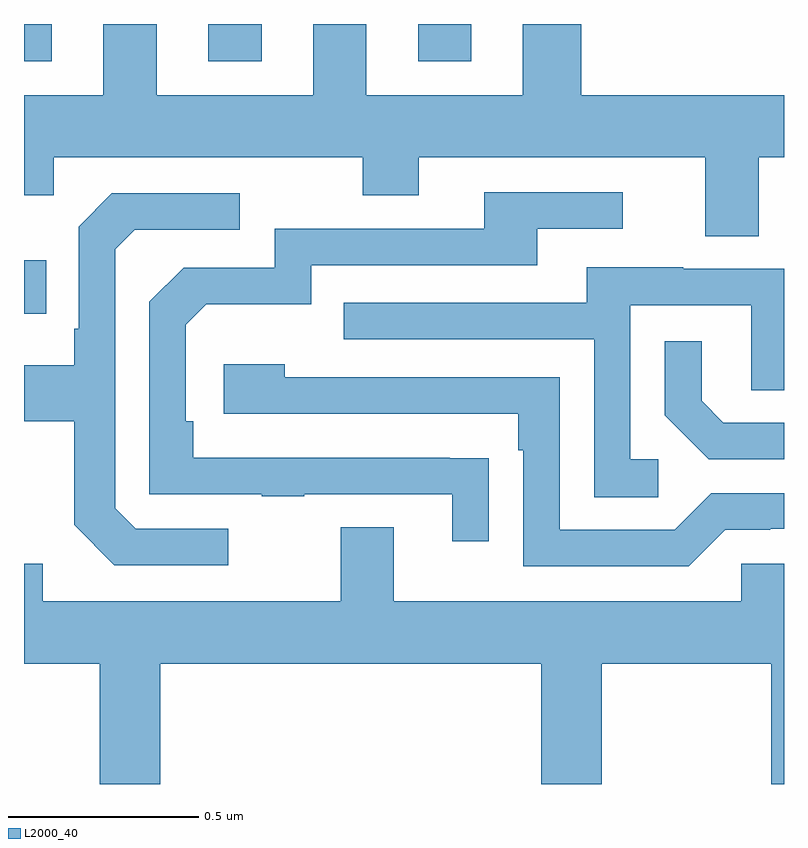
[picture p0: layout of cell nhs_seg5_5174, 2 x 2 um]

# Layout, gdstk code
import gdstk
lib = gdstk.Library(unit=1e-6, precision=1e-09)
def R(c, l, rs):  # rectangles x0, y0, x1, y1
    for r in rs: c.add(gdstk.rectangle(r[:2], r[2:], *l))
def P(c, l, *ps):  # polygons
    for p in ps: c.add(gdstk.Polygon(p, *l))
L2000_40 = (2000, 40)

nhs_seg5_5174 = lib.new_cell('nhs_seg5_5174')
R(nhs_seg5_5174, L2000_40, [(180,835.037,180.059,835.177), (180,835.701,180.073,835.799), (180.485,835.701,180.625,835.799), (181.037,835.701,181.177,835.799)])
P(nhs_seg5_5174, L2000_40, [(181.793,835.24),(181.933,835.24),(181.933,835.448),(182,835.448),(182,835.612),(181.466,835.612),(181.466,835.799),(181.313,835.799),(181.313,835.612),(180.901,835.612),(180.901,835.799),(180.761,835.799),(180.761,835.612),(180.349,835.612),(180.349,835.799),(180.209,835.799),(180.209,835.612),(180,835.612),(180,835.349),(180.078,835.349),(180.078,835.448),(180.892,835.448),(180.892,835.349),(181.039,835.349),(181.039,835.448),(181.793,835.448)],
  [(181.223,834.656),(181.121,834.656),(181.121,834.657),(180.446,834.657),(180.446,834.754),(180.426,834.754),(180.426,835.008),(180.479,835.061),(180.756,835.061),(180.756,835.164),(181.351,835.164),(181.351,835.26),(181.576,835.26),(181.576,835.356),(181.211,835.356),(181.211,835.26),(180.66,835.26),(180.66,835.158),(180.42,835.158),(180.33,835.068),(180.33,834.561),(180.625,834.561),(180.625,834.556),(180.737,834.556),(180.737,834.561),(181.127,834.561),(181.127,834.438),(181.223,834.438)],
  [(180.538,834.471),(180.294,834.471),(180.24,834.525),(180.24,835.206),(180.291,835.257),(180.568,835.257),(180.568,835.353),(180.231,835.353),(180.144,835.266),(180.144,834.997),(180.132,834.997),(180.132,834.901),(180,834.901),(180,834.754),(180.132,834.754),(180.132,834.481),(180.237,834.375),(180.538,834.375)],
  [(181.669,834.654),(181.596,834.654),(181.596,835.059),(181.914,835.059),(181.914,834.835),(182,834.835),(182,835.155),(181.735,835.155),(181.735,835.159),(181.481,835.159),(181.481,835.065),(180.841,835.065),(180.841,834.969),(181.5,834.969),(181.5,834.553),(181.669,834.553)],
  [(182,834.75),(181.84,834.75),(181.783,834.807),(181.783,834.964),(181.686,834.964),(181.686,834.77),(181.802,834.654),(182,834.654)],
  [(181.845,834.468),(181.964,834.468),(181.964,834.471),(182,834.471),(182,834.564),(181.809,834.564),(181.713,834.468),(181.41,834.468),(181.41,834.87),(180.686,834.87),(180.686,834.904),(180.525,834.904),(180.525,834.774),(181.301,834.774),(181.301,834.677),(181.314,834.677),(181.314,834.372),(181.749,834.372)],
  [(181.887,834.28),(180.973,834.28),(180.973,834.475),(180.833,834.475),(180.833,834.28),(180.049,834.28),(180.049,834.379),(180,834.379),(180,834.116),(180.199,834.116),(180.199,833.799),(180.359,833.799),(180.359,834.116),(181.361,834.116),(181.361,833.799),(181.521,833.799),(181.521,834.116),(181.966,834.116),(181.966,833.799),(182,833.799),(182,834.378),(181.887,834.378)])

lib.write_gds('nhs_seg5_5174.gds')
